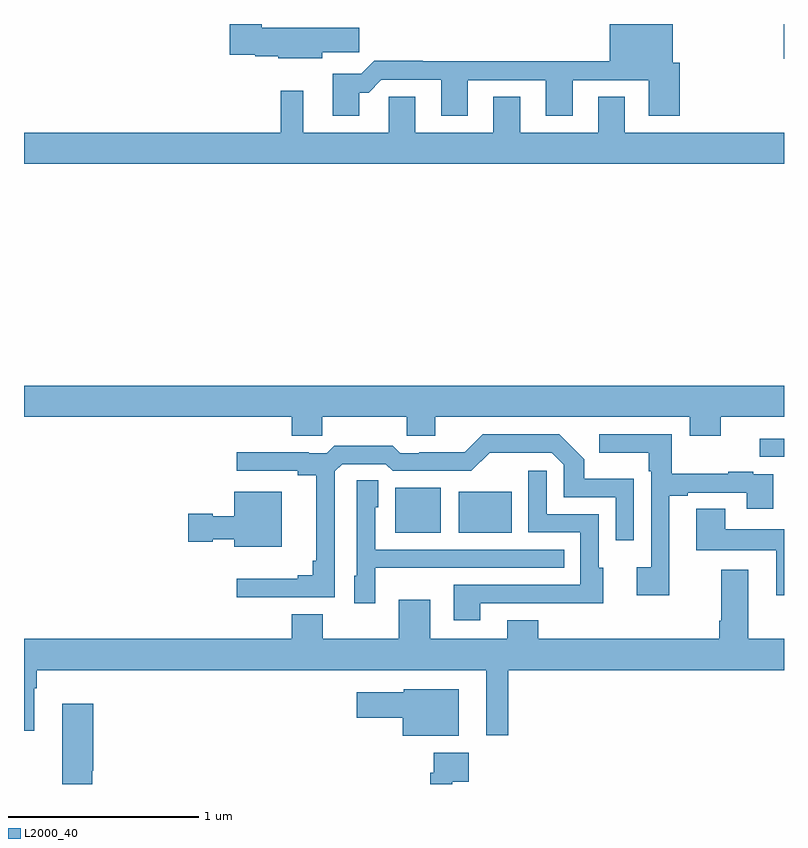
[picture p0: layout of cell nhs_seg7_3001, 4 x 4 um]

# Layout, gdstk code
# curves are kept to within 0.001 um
import gdstk
lib = gdstk.Library(unit=1e-6, precision=1e-09)
def R(c, l, rs):  # rectangles x0, y0, x1, y1
    for r in rs: c.add(gdstk.rectangle(r[:2], r[2:], *l))
def P(c, l, *ps):  # polygons
    for p in ps: c.add(gdstk.Polygon(p, *l))
L2000_40 = (2000, 40)

nhs_seg7_3001 = lib.new_cell('nhs_seg7_3001')
R(nhs_seg7_3001, L2000_40, [(304.955,1017.323,305.194,1017.559), (305.288,1017.323,305.566,1017.538), (306.873,1017.723,307,1017.817), (306.998,1019.817,307,1020)])
P(nhs_seg7_3001, L2000_40, [(304.57,1019.851),(304.765,1019.851),(304.765,1019.98),(304.252,1019.98),(304.252,1020),(304.082,1020),(304.082,1019.837),(304.218,1019.837),(304.218,1019.83),(304.338,1019.83),(304.338,1019.819),(304.57,1019.819)],
  [(304.765,1019.639),(304.814,1019.639),(304.881,1019.706),(305.195,1019.706),(305.195,1019.517),(305.335,1019.517),(305.335,1019.703),(305.747,1019.703),(305.747,1019.517),(305.887,1019.517),(305.887,1019.703),(306.287,1019.703),(306.287,1019.517),(306.452,1019.517),(306.452,1019.796),(306.415,1019.796),(306.415,1020),(306.083,1020),(306.083,1019.804),(305.099,1019.804),(305.099,1019.807),(304.844,1019.807),(304.774,1019.737),(304.625,1019.737),(304.625,1019.517),(304.765,1019.517)],
  [(307,1019.428),(306.163,1019.428),(306.163,1019.618),(306.023,1019.618),(306.023,1019.428),(305.611,1019.428),(305.611,1019.618),(305.471,1019.618),(305.471,1019.428),(305.059,1019.428),(305.059,1019.618),(304.92,1019.618),(304.92,1019.428),(304.471,1019.428),(304.471,1019.65),(304.35,1019.65),(304.35,1019.428),(303,1019.428),(303,1019.264),(307,1019.264)],
  [(306.667,1017.932),(307,1017.932),(307,1018.096),(303,1018.096),(303,1017.932),(304.409,1017.932),(304.409,1017.834),(304.569,1017.834),(304.569,1017.932),(305.014,1017.932),(305.014,1017.834),(305.164,1017.834),(305.164,1017.932),(306.503,1017.932),(306.503,1017.833),(306.667,1017.833)],
  [(304.635,1017.645),(304.674,1017.684),(304.905,1017.684),(304.941,1017.648),(305.355,1017.648),(305.45,1017.743),(305.778,1017.744),(305.841,1017.681),(305.841,1017.51),(306.114,1017.51),(306.114,1017.282),(306.21,1017.282),(306.21,1017.607),(305.949,1017.607),(305.949,1017.71),(305.818,1017.84),(305.415,1017.84),(305.321,1017.746),(305.08,1017.746),(305.08,1017.741),(304.98,1017.741),(304.941,1017.781),(304.633,1017.781),(304.593,1017.741),(304.499,1017.741),(304.499,1017.746),(304.119,1017.746),(304.119,1017.648),(304.442,1017.648),(304.442,1017.626),(304.538,1017.626),(304.538,1017.175),(304.519,1017.175),(304.519,1017.098),(304.442,1017.098),(304.442,1017.079),(304.119,1017.079),(304.119,1016.982),(304.635,1016.982)],
  [(306.397,1017.516),(306.493,1017.516),(306.493,1017.534),(306.803,1017.534),(306.803,1017.45),(306.943,1017.45),(306.943,1017.63),(306.839,1017.63),(306.839,1017.643),(306.707,1017.643),(306.707,1017.632),(306.409,1017.632),(306.409,1017.84),(306.027,1017.84),(306.027,1017.743),(306.288,1017.743),(306.288,1017.647),(306.3,1017.647),(306.3,1017.142),(306.225,1017.142),(306.225,1016.994),(306.397,1016.994)],
  [(305.401,1016.952),(305.831,1016.952),(305.831,1016.951),(306.049,1016.951),(306.049,1017.138),(306.024,1017.138),(306.024,1017.42),(305.751,1017.42),(305.751,1017.649),(305.655,1017.649),(305.655,1017.324),(305.928,1017.324),(305.928,1017.048),(305.261,1017.048),(305.261,1016.862),(305.401,1016.862)],
  [(304.848,1017.137),(305.165,1017.137),(305.165,1017.138),(305.843,1017.138),(305.843,1017.234),(304.848,1017.234),(304.848,1017.456),(304.864,1017.456),(304.864,1017.599),(304.752,1017.599),(304.752,1017.096),(304.739,1017.096),(304.739,1016.952),(304.848,1016.952)],
  [(304.357,1017.538),(304.106,1017.538),(304.106,1017.409),(303.993,1017.409),(303.993,1017.422),(303.864,1017.422),(303.864,1017.275),(303.993,1017.275),(303.993,1017.287),(304.106,1017.287),(304.106,1017.248),(304.357,1017.248)],
  [(307,1017.34),(306.691,1017.34),(306.691,1017.449),(306.539,1017.449),(306.539,1017.23),(306.959,1017.23),(306.959,1016.994),(307,1016.994)],
  [(305.549,1016.6),(307,1016.6),(307,1016.764),(306.811,1016.764),(306.811,1017.127),(306.671,1017.127),(306.671,1016.86),(306.659,1016.86),(306.659,1016.764),(305.707,1016.764),(305.707,1016.863),(305.543,1016.863),(305.543,1016.764),(305.137,1016.764),(305.137,1016.971),(304.973,1016.971),(304.973,1016.764),(304.573,1016.764),(304.573,1016.893),(304.409,1016.893),(304.409,1016.764),(303,1016.764),(303,1016.28),(303.055,1016.28),(303.055,1016.504),(303.068,1016.504),(303.068,1016.6),(305.432,1016.6),(305.432,1016.256),(305.549,1016.256)],
  [(305.287,1016.5),(304.998,1016.5),(304.998,1016.482),(304.752,1016.482),(304.752,1016.348),(304.994,1016.348),(304.994,1016.255),(305.287,1016.255)],
  [(303.359,1016.07),(303.364,1016.07),(303.364,1016.422),(303.2,1016.422),(303.2,1016),(303.359,1016)],
  [(305.255,1016.012),(305.341,1016.012),(305.341,1016.164),(305.157,1016.164),(305.157,1016.06),(305.137,1016.06),(305.137,1016),(305.255,1016)])

lib.write_gds('nhs_seg7_3001.gds')
